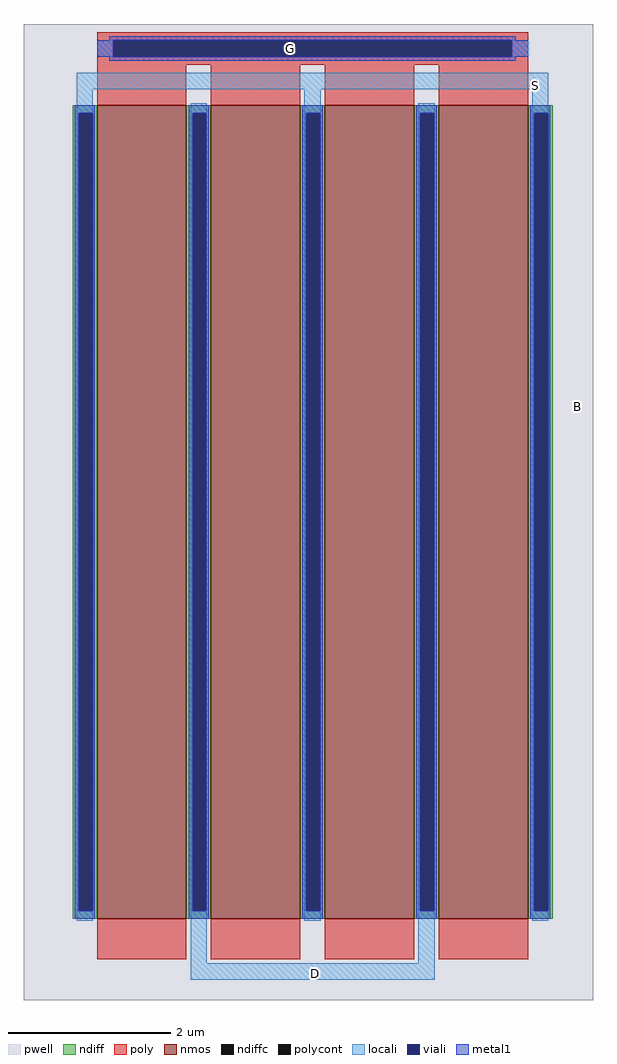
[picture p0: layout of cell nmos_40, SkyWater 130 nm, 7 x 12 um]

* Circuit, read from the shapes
.subckt nmos_40 D G S B
XM1 D G S B sky130_fd_pr__nfet_01v8 w=10 l=1.1 m=4
.ends

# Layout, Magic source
magic
tech sky130A
magscale 1 2
<< pwell >>
rect -1400 200 0 2600
<< nmos >>
rect -1220 400 -1000 2400
rect -940 400 -720 2400
rect -660 400 -440 2400
rect -380 400 -160 2400
<< ndiff >>
rect -1280 2380 -1220 2400
rect -1280 420 -1265 2380
rect -1231 420 -1220 2380
rect -1280 400 -1220 420
rect -1000 2380 -940 2400
rect -1000 420 -985 2380
rect -951 420 -940 2380
rect -1000 400 -940 420
rect -720 2380 -660 2400
rect -720 420 -705 2380
rect -671 420 -660 2380
rect -720 400 -660 420
rect -440 2380 -380 2400
rect -440 420 -425 2380
rect -391 420 -380 2380
rect -440 400 -380 420
rect -160 2380 -100 2400
rect -160 420 -145 2380
rect -111 420 -100 2380
rect -160 400 -100 420
<< ndiffc >>
rect -1265 420 -1231 2380
rect -985 420 -951 2380
rect -705 420 -671 2380
rect -425 420 -391 2380
rect -145 420 -111 2380
<< poly >>
rect -1220 2560 -160 2580
rect -1220 2520 -1180 2560
rect -200 2520 -160 2560
rect -1220 2500 -160 2520
rect -1220 2400 -1000 2500
rect -940 2400 -720 2500
rect -660 2400 -440 2500
rect -380 2400 -160 2500
rect -1220 300 -1000 400
rect -940 300 -720 400
rect -660 300 -440 400
rect -380 300 -160 400
<< polycont >>
rect -1180 2520 -200 2560
<< locali >>
rect -1220 2520 -1180 2560
rect -200 2520 -160 2560
rect -1270 2440 -110 2480
rect -1270 2380 -1230 2440
rect -1270 420 -1265 2380
rect -1231 420 -1230 2380
rect -1270 395 -1230 420
rect -990 2380 -950 2405
rect -990 420 -985 2380
rect -951 420 -950 2380
rect -990 290 -950 420
rect -710 2380 -670 2440
rect -710 420 -705 2380
rect -671 420 -670 2380
rect -710 395 -670 420
rect -430 2380 -390 2405
rect -430 420 -425 2380
rect -391 420 -390 2380
rect -430 290 -390 420
rect -150 2380 -110 2440
rect -150 420 -145 2380
rect -111 420 -110 2380
rect -150 395 -110 420
rect -990 250 -390 290
<< viali >>
rect -1180 2520 -200 2560
rect -1265 420 -1231 2380
rect -985 420 -951 2380
rect -705 420 -671 2380
rect -425 420 -391 2380
rect -145 420 -111 2380
<< metal1 >>
rect -1190 2560 -190 2570
rect -1220 2520 -1180 2560
rect -200 2520 -160 2560
rect -1190 2510 -190 2520
rect -1275 2380 -1225 2400
rect -1275 420 -1265 2380
rect -1231 420 -1225 2380
rect -1275 400 -1225 420
rect -995 2380 -945 2400
rect -995 420 -985 2380
rect -951 420 -945 2380
rect -995 400 -945 420
rect -715 2380 -665 2400
rect -715 420 -705 2380
rect -671 420 -665 2380
rect -715 400 -665 420
rect -435 2380 -385 2400
rect -435 420 -425 2380
rect -391 420 -385 2380
rect -435 400 -385 420
rect -155 2380 -105 2400
rect -155 420 -145 2380
rect -111 420 -105 2380
rect -155 400 -105 420
<< labels >>
flabel viali -744 2540 -744 2540 0 FreeSans 800 0 0 0 G
port 2 nsew
flabel locali -141 2450 -141 2450 0 FreeSans 800 0 0 0 S
port 3 nsew
flabel locali -683 266 -683 266 0 FreeSans 800 0 0 0 D
port 1 nsew
flabel pwell -39 1659 -39 1659 0 FreeSans 800 0 0 0 B
port 4 nsew
<< end >>
